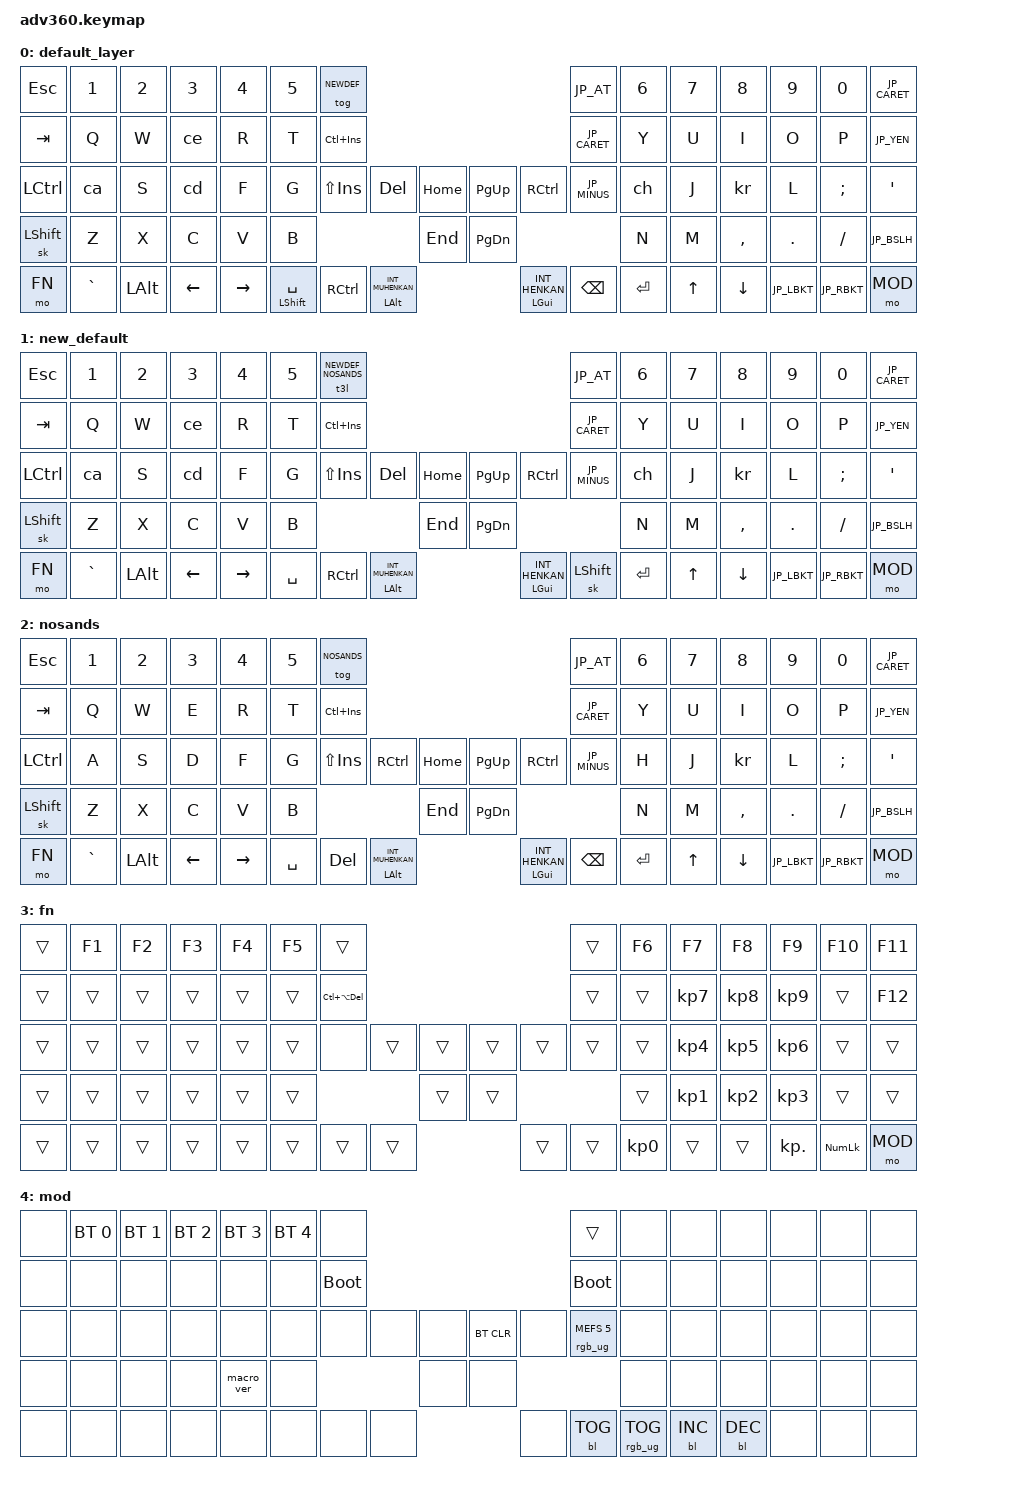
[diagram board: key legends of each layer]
#include <behaviors.dtsi>
#include <dt-bindings/zmk/keys.h>
#include <dt-bindings/zmk/bt.h>
#include <dt-bindings/zmk/rgb.h>
#include <dt-bindings/zmk/backlight.h>
#include "keycode_japanese.h"

#define SP SPACE
#define MUHE INT_MUHENKAN
#define HENK INT_HENKAN
#define CpApD LC(LA(DEL))


// layer number
#define DEFAULT 0
#define NEWDEF  1
#define NOSANDS 2
#define FN 3
#define MOD 4



#define COMBO(NAME, LAYERS, KEYPOS, BINDINGS, TIMEOUT) \
/ { \
    combos { \
        compatible = "zmk,combos"; \
        combo_##NAME { \
            bindings = <BINDINGS>; \
            key-positions = <KEYPOS>; \
            layers = <LAYERS>; \
            timeout-ms = <TIMEOUT>; \
        }; \
    }; \
}

// COMBO(c-a, 0, 29 66, &kp HOME, 135);
// COMBO(c-e, 0, 17 66, &kp END, 135);

/ {
    behaviors {
      #include "macros.dtsi"
      #include "version.dtsi"
      #ifndef VERSION_MACRO

      macro_ver: macro_ver {
        compatible = "zmk,behavior-macro";
        label = "macro_version";
        #binding-cells = <0>;
        bindings = <&kp RET>;
      };
      #endif

      hm: homerow_mods {
          compatible = "zmk,behavior-hold-tap";
          label = "HOMEROW_MODS";
          #binding-cells = <2>;
          tapping-term-ms = <200>;
          quick_tap_ms = <175>;
          flavor = "tap-preferred";
          bindings = <&kp>, <&kp>;
      };

      sands: space_and_shift {
          compatible = "zmk,behavior-hold-tap";
          label = "SPACE_AND_SHIFT";
          #binding-cells = <2>;
          flavor = "tap-unless-interrupted";
          tapping-term-ms = <1000>;
          quick-tap-ms = <125>;
          global-quick-tap;
          bindings = <&kp>, <&kp>;
      };

      ca: rctrl-a {
          compatible = "zmk,behavior-mod-morph";
          #binding-cells = <0>;
          bindings = <&kp A>, <&kp HOME>;
          mods = <(MOD_RCTL)>;
      };
      ce: rctrl-e {
          compatible = "zmk,behavior-mod-morph";
          #binding-cells = <0>;
          bindings = <&kp E>, <&kp END>;
          mods = <(MOD_RCTL)>;
      };

      ch: rctrl-h {
          compatible = "zmk,behavior-mod-morph";
          #binding-cells = <0>;
          bindings = <&kp H>, <&kp BSPC>;
          mods = <(MOD_RCTL)>;
      };
      cd: rctrl-d {
          compatible = "zmk,behavior-mod-morph";
          #binding-cells = <0>;
          bindings = <&kp D>, <&kp DEL>;
          mods = <(MOD_RCTL)>;
      };

      kr: kill_ring {
          compatible = "zmk,behavior-mod-morph";
          #binding-cells = <0>;
          bindings = <&kp K>, <&macro_c_k>;
          mods = <(MOD_LCTL)>;
      };

    };

  keymap {
    compatible = "zmk,keymap";
//14
//28
//46
//60

    default_layer {
      bindings = <
        &kp ESC   &kp N1    &kp N2   &kp N3   &kp N4     &kp N5 &tog NEWDEF                                                                           &kp JP_AT     &kp N6  &kp N7 &kp N8    &kp N9      &kp N0      &kp JP_CARET
        &kp TAB   &kp Q     &kp W    &ce      &kp R      &kp T  &kp LC(INS)                                                                           &kp JP_CARET  &kp Y   &kp U  &kp I     &kp O       &kp P       &kp JP_YEN
        &kp LCTRL &ca       &kp S    &cd      &kp F      &kp G  &kp LS(INS)          &kp DEL &kp HOME        &kp PG_UP  &kp RCTRL                     &kp JP_MINUS  &ch     &kp J  &kr       &kp L       &kp SEMI    &kp SQT
        &sk LSHFT &kp Z     &kp X    &kp C    &kp V      &kp B                               &kp END         &kp PG_DN                                              &kp N   &kp M  &kp COMMA &kp DOT     &kp FSLH    &kp JP_BSLH
        &mo FN    &kp GRAVE &kp LALT &kp LEFT &kp RIGHT            &sands LSHFT SP &kp RCTRL &mt LALT MUHE   &hm LGUI HENK &kp BSPC &kp ENTER                               &kp UP &kp DOWN  &kp JP_LBKT &kp JP_RBKT &mo MOD
      >;
    }; 

    new_default {
      bindings = <
        &kp ESC   &kp N1    &kp N2   &kp N3   &kp N4     &kp N5 &t3l NEWDEF NOSANDS                                                                   &kp JP_AT     &kp N6  &kp N7 &kp N8    &kp N9      &kp N0      &kp JP_CARET
        &kp TAB   &kp Q     &kp W    &ce      &kp R      &kp T  &kp LC(INS)                                                                           &kp JP_CARET  &kp Y   &kp U  &kp I     &kp O       &kp P       &kp JP_YEN
        &kp LCTRL &ca       &kp S    &cd      &kp F      &kp G  &kp LS(INS)          &kp DEL &kp HOME        &kp PG_UP  &kp RCTRL                     &kp JP_MINUS  &ch     &kp J  &kr       &kp L       &kp SEMI    &kp SQT
        &sk LSHFT &kp Z     &kp X    &kp C    &kp V      &kp B                               &kp END         &kp PG_DN                                              &kp N   &kp M  &kp COMMA &kp DOT     &kp FSLH    &kp JP_BSLH
        &mo FN    &kp GRAVE &kp LALT &kp LEFT &kp RIGHT                    &kp SP &kp RCTRL  &mt LALT MUHE   &hm LGUI HENK &sk LSHFT &kp ENTER                               &kp UP &kp DOWN  &kp JP_LBKT &kp JP_RBKT &mo MOD
      >;
    };
    nosands {
      bindings = <
        &kp ESC   &kp N1    &kp N2   &kp N3   &kp N4     &kp N5 &tog NOSANDS                                                                          &kp JP_AT     &kp N6  &kp N7 &kp N8    &kp N9      &kp N0      &kp JP_CARET
        &kp TAB   &kp Q     &kp W    &kp E    &kp R      &kp T  &kp LC(INS)                                                                           &kp JP_CARET  &kp Y   &kp U  &kp I     &kp O       &kp P       &kp JP_YEN
        &kp LCTRL &kp A     &kp S    &kp D    &kp F      &kp G  &kp LS(INS)        &kp RCTRL &kp HOME        &kp PG_UP  &kp RCTRL                     &kp JP_MINUS  &kp H   &kp J  &kr       &kp L       &kp SEMI    &kp SQT
        &sk LSHFT &kp Z     &kp X    &kp C    &kp V      &kp B                               &kp END         &kp PG_DN                                              &kp N   &kp M  &kp COMMA &kp DOT     &kp FSLH    &kp JP_BSLH
        &mo FN    &kp GRAVE &kp LALT &kp LEFT &kp RIGHT                    &kp SP &kp DEL &mt LALT MUHE   &hm LGUI HENK &kp BSPC &kp ENTER                               &kp UP &kp DOWN  &kp JP_LBKT &kp JP_RBKT    &mo MOD
      >;
    };
    fn {
      bindings = <
        &trans &kp F1 &kp F2 &kp F3 &kp F4 &kp F5  &trans                                          &trans &kp F6 &kp F7     &kp F8     &kp F9     &kp F10    &kp F11
        &trans &trans &trans &trans &trans &trans  &kp LC(LA(DEL))                                 &trans &trans &kp KP_N7  &kp KP_N8  &kp KP_N9  &trans     &kp F12 
        &trans &trans &trans &trans &trans &trans  &none        &trans &trans &trans &trans        &trans &trans &kp KP_N4  &kp KP_N5  &kp KP_N6  &trans     &trans 
        &trans &trans &trans &trans &trans &trans                      &trans &trans                      &trans &kp KP_N1  &kp KP_N2  &kp KP_N3  &trans     &trans  
        &trans &trans &trans &trans &trans               &trans &trans &trans &trans &trans &kp KP_N0            &trans     &trans     &kp KP_DOT &kp KP_NUM &mo MOD
      >;
    };
    mod {
      bindings = <
        &none &bt BT_SEL 0 &bt BT_SEL 1 &bt BT_SEL 2 &bt BT_SEL 3 &bt BT_SEL 4 &none                                                                     &trans                 &none        &none        &none        &none &none &none
        &none &none        &none        &none        &none        &none        &bootloader                                                               &bootloader            &none        &none        &none        &none &none &none
        &none &none        &none        &none        &none        &none        &none                   &none &none &bt BT_CLR &none                      &rgb_ug RGB_MEFS_CMD 5 &none        &none        &none        &none &none &none
        &none &none        &none        &none        &macro_ver   &none                                      &none &none                                                        &none        &none        &none        &none &none &none
        &none &none        &none        &none        &none                                       &none &none &none &none      &bl BL_TOG &rgb_ug RGB_TOG                                     &bl BL_INC   &bl BL_DEC   &none &none &none
      >;
    };
  };
};
